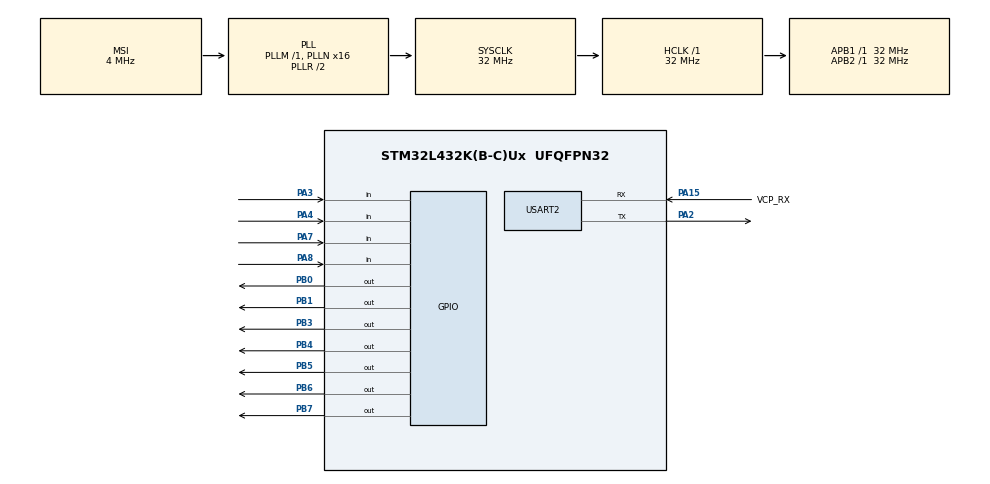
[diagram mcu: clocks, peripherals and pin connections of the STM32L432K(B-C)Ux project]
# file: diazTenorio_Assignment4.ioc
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Mcu.Family=STM32L4
Mcu.Name=STM32L432K(B-C)Ux
Mcu.Package=UFQFPN32
NVIC.PriorityGroup=NVIC_PRIORITYGROUP_4
PA0.GPIO_Label=MCO [High speed clock in]
PA0.Mode=HSE-External-Clock-Source-for-LittleOrca
PA0.Signal=RCC_CK_IN
PA13\ (JTMS-SWDIO).GPIO_Label=SWDIO
PA13\ (JTMS-SWDIO).Mode=Serial_Wire
PA13\ (JTMS-SWDIO).Signal=SYS_JTMS-SWDIO
PA14\ (JTCK-SWCLK).GPIO_Label=SWCLK
PA14\ (JTCK-SWCLK).Mode=Serial_Wire
PA14\ (JTCK-SWCLK).Signal=SYS_JTCK-SWCLK
PA15\ (JTDI).GPIO_Label=VCP_RX
PA15\ (JTDI).Mode=Asynchronous
PA15\ (JTDI).Signal=USART2_RX
PA2.Mode=Asynchronous
PA2.Signal=USART2_TX
PA3.GPIO_PuPd=GPIO_PULLUP
PA3.Signal=GPIO_Input
PA4.GPIO_PuPd=GPIO_PULLUP
PA4.Signal=GPIO_Input
PA7.GPIO_PuPd=GPIO_PULLUP
PA7.Signal=GPIO_Input
PA8.GPIO_PuPd=GPIO_PULLUP
PA8.Signal=GPIO_Input
PB0.Signal=GPIO_Output
PB1.Signal=GPIO_Output
PB3\ (JTDO-TRACESWO).Signal=GPIO_Output
PB4\ (NJTRST).Signal=GPIO_Output
PB5.Signal=GPIO_Output
PB6.Signal=GPIO_Output
PB7.Signal=GPIO_Output
PC14-OSC32_IN\ (PC14).Mode=LSE-External-Oscillator
PC14-OSC32_IN\ (PC14).Signal=RCC_OSC32_IN
PC15-OSC32_OUT\ (PC15).Mode=LSE-External-Oscillator
PC15-OSC32_OUT\ (PC15).Signal=RCC_OSC32_OUT
ProjectManager.HeapSize=0x200
ProjectManager.StackSize=0x400
ProjectManager.TargetToolchain=STM32CubeIDE
RCC.AHBFreq_Value=32000000
RCC.APB1Freq_Value=32000000
RCC.APB1TimFreq_Value=32000000
RCC.APB2Freq_Value=32000000
RCC.APB2TimFreq_Value=32000000
RCC.CortexFreq_Value=32000000
RCC.HCLKFreq_Value=32000000
RCC.HSE_VALUE=8000000
RCC.HSI16_VALUE=16000000
RCC.HSI48_VALUE=48000000
RCC.HSI_VALUE=16000000
RCC.MSI_VALUE=4000000
RCC.PLLMUL=RCC_PLLMUL_4
RCC.PLLN=16
RCC.SYSCLKFreq_VALUE=32000000
RCC.SYSCLKSource=RCC_SYSCLKSOURCE_PLLCLK
RCC.VCOOutputFreq_Value=64000000
USART2.VirtualMode-Asynchronous=VM_ASYNC
board=NUCLEO-L432KC

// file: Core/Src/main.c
/* USER CODE BEGIN Header */
/*******************************************************************************
  * File Name          : main.c
  * Description        : it is a debit card transaction machine.
  * 					 it process a purchase verifying the price to pay
  * 					 type of account, check that the pin is correct and
  * 					 goes back to the initial state.
  *
  * Author:              Daniela Diaz Tenorio
  * Date:                April 13st 2020
  ******************************************************************************
  */
/* USER CODE END Header */

#include "main.h"

/* USER CODE BEGIN Includes */
#include "stdio.h"
#include "string.h"
#include "stdlib.h"
#include "stm32l4xx_hal.h"
#include "debounce.h"
/* USER CODE END Includes */

UART_HandleTypeDef huart2;

void SystemClock_Config(void);
static void MX_GPIO_Init(void);
static void MX_USART2_UART_Init(void);

/* USER CODE BEGIN 0 */
int8_t readPush(int16_t buttonsPin [], int8_t numberOfButtons, char port, int8_t mode);
int8_t waitForPush (int8_t minValue, int8_t maxValue, char port, int8_t mode, int16_t buttonsPin[], int8_t numberOfButtons);
void printLcdVcn(char printBuffer1[], char printBuffer2[]);
int8_t checkPin(char pin[]);
/* USER CODE END 0 */

int main(void)
{

  /* MCU Configuration--------------------------------------------------------*/

  /* Reset of all peripherals, Initializes the Flash interface and the Systick. */
  HAL_Init();

  /* Configure the system clock */
  SystemClock_Config();

  /* Initialize all configured peripherals */
  MX_GPIO_Init();
  MX_USART2_UART_Init();
  /* USER CODE BEGIN 2 */
  HD44780_Init();

  //Initializing push buttons variables
  	char port = 'A';
  	int8_t mode = 0;
  	int16_t buttonsPin[] = {GPIO_PIN_3,GPIO_PIN_4,GPIO_PIN_7,GPIO_PIN_8};// pins for the PB
  	int8_t numberOfButtons = (sizeof(buttonsPin))/(sizeof(buttonsPin[0]));// number of PBs used

  	deBounceInit(buttonsPin[0], port, mode); //push1 PA3
  	deBounceInit(buttonsPin[1], port, mode); //push2 PA4
  	deBounceInit(buttonsPin[2], port, mode); //push3 PA7
	deBounceInit(buttonsPin[3], port, mode); //pushOK PA8

  // initializing variables
	int8_t state = 1; //state machine state
	const int processingTime = 10000; //delay time when is processing
	const int pinSize = 4;//pin length
	char pin[pinSize];
	char printBuffer [16] = { 0 };

	int8_t getButton = 0; //which button is pressed
	float price = 0; // price to pay

  /* USER CODE END 2 */

  /* Infinite loop */
  /* USER CODE BEGIN WHILE */
  while (1)
  {
	  switch(state)
	  {
	  	  case 1: // welcome screen
	  		printLcdVcn("Welcome", " ");
	  		getButton = waitForPush(-1, 3, port, mode,buttonsPin,numberOfButtons); //wait until OK is pressed
	  		state = 2; //next step
		  break;

		  case 2: // enter and accept the price
			printf("enter price: ");
			scanf("%f",&price); // wait until the price is provided through serial port
			sprintf(printBuffer, "$%.2f", price);
			printLcdVcn(printBuffer, "Ok:1 or Canc:2");

			getButton = waitForPush(1, 4, port, mode, buttonsPin,numberOfButtons);//wait until 1 or 2 is pressed

			if(getButton == 0) //pressed OK: PB 1
			{
				state = 3; //next state
			}
			else //pressed cancel: PB 2
			{
				state = 6; // cancel transaction
			}
		  break;

		  case 3: // choose chequing or saving account
		    printLcdVcn("Chequing: 1", "Saving: 2");
		    getButton = waitForPush(1, 4, port, mode, buttonsPin,numberOfButtons); //wait until 1 or 2 is pressed
			state = 4; // next state
		  break;

		  case 4:
			printLcdVcn("Enter PIN", " ");
			memset(printBuffer,' ',16);

			for(int i=0; i<pinSize; i++) //save the pin entered in pin[]
			{
				pin[i] = (readPush(buttonsPin, numberOfButtons, port, mode)+1)+'0'; //convert integer to char
				HD44780_GotoXY(i, 1);
				HD44780_PutChar('*');
			}

			getButton = waitForPush(-1, 3, port, mode, buttonsPin,numberOfButtons); //wait until OK is pressed

			state = 5; //next state
		  break;

		  case 5:

			printLcdVcn("Processing...", " ");
			HAL_Delay(processingTime);

			state = checkPin(pin); //check if the pin is correct
		  break;

		  case 6:

			printLcdVcn("Transaction", "Cancelling");
			HAL_Delay(processingTime);

			state = 1; //go back to welcome screen
		  break;

	  }
    /* USER CODE END WHILE */

  }
}

void SystemClock_Config(void)
{
  RCC_OscInitTypeDef RCC_OscInitStruct = {0};
  RCC_ClkInitTypeDef RCC_ClkInitStruct = {0};
  RCC_PeriphCLKInitTypeDef PeriphClkInit = {0};

  /** Configure LSE Drive Capability
  */
  HAL_PWR_EnableBkUpAccess();
  __HAL_RCC_LSEDRIVE_CONFIG(RCC_LSEDRIVE_LOW);
  /** Initializes the CPU, AHB and APB busses clocks
  */
  RCC_OscInitStruct.OscillatorType = RCC_OSCILLATORTYPE_LSE|RCC_OSCILLATORTYPE_MSI;
  RCC_OscInitStruct.LSEState = RCC_LSE_ON;
  RCC_OscInitStruct.MSIState = RCC_MSI_ON;
  RCC_OscInitStruct.MSICalibrationValue = 0;
  RCC_OscInitStruct.MSIClockRange = RCC_MSIRANGE_6;
  RCC_OscInitStruct.PLL.PLLState = RCC_PLL_ON;
  RCC_OscInitStruct.PLL.PLLSource = RCC_PLLSOURCE_MSI;
  RCC_OscInitStruct.PLL.PLLM = 1;
  RCC_OscInitStruct.PLL.PLLN = 16;
  RCC_OscInitStruct.PLL.PLLP = RCC_PLLP_DIV7;
  RCC_OscInitStruct.PLL.PLLQ = RCC_PLLQ_DIV2;
  RCC_OscInitStruct.PLL.PLLR = RCC_PLLR_DIV2;
  if (HAL_RCC_OscConfig(&RCC_OscInitStruct) != HAL_OK)
  {
    Error_Handler();
  }
  /** Initializes the CPU, AHB and APB busses clocks
  */
  RCC_ClkInitStruct.ClockType = RCC_CLOCKTYPE_HCLK|RCC_CLOCKTYPE_SYSCLK
                              |RCC_CLOCKTYPE_PCLK1|RCC_CLOCKTYPE_PCLK2;
  RCC_ClkInitStruct.SYSCLKSource = RCC_SYSCLKSOURCE_PLLCLK;
  RCC_ClkInitStruct.AHBCLKDivider = RCC_SYSCLK_DIV1;
  RCC_ClkInitStruct.APB1CLKDivider = RCC_HCLK_DIV1;
  RCC_ClkInitStruct.APB2CLKDivider = RCC_HCLK_DIV1;

  if (HAL_RCC_ClockConfig(&RCC_ClkInitStruct, FLASH_LATENCY_1) != HAL_OK)
  {
    Error_Handler();
  }
  PeriphClkInit.PeriphClockSelection = RCC_PERIPHCLK_USART2;
  PeriphClkInit.Usart2ClockSelection = RCC_USART2CLKSOURCE_PCLK1;
  if (HAL_RCCEx_PeriphCLKConfig(&PeriphClkInit) != HAL_OK)
  {
    Error_Handler();
  }
  /** Configure the main internal regulator output voltage
  */
  if (HAL_PWREx_ControlVoltageScaling(PWR_REGULATOR_VOLTAGE_SCALE1) != HAL_OK)
  {
    Error_Handler();
  }
  /** Enable MSI Auto calibration
  */
  HAL_RCCEx_EnableMSIPLLMode();
}

static void MX_USART2_UART_Init(void)
{

  huart2.Instance = USART2;
  huart2.Init.BaudRate = 115200;
  huart2.Init.WordLength = UART_WORDLENGTH_8B;
  huart2.Init.StopBits = UART_STOPBITS_1;
  huart2.Init.Parity = UART_PARITY_NONE;
  huart2.Init.Mode = UART_MODE_TX_RX;
  huart2.Init.HwFlowCtl = UART_HWCONTROL_NONE;
  huart2.Init.OverSampling = UART_OVERSAMPLING_16;
  huart2.Init.OneBitSampling = UART_ONE_BIT_SAMPLE_DISABLE;
  huart2.AdvancedInit.AdvFeatureInit = UART_ADVFEATURE_NO_INIT;
  if (HAL_UART_Init(&huart2) != HAL_OK)
  {
    Error_Handler();
  }

}

static void MX_GPIO_Init(void)
{
  GPIO_InitTypeDef GPIO_InitStruct = {0};

  /* GPIO Ports Clock Enable */
  __HAL_RCC_GPIOC_CLK_ENABLE();
  __HAL_RCC_GPIOA_CLK_ENABLE();
  __HAL_RCC_GPIOB_CLK_ENABLE();

  /*Configure GPIO pin Output Level */
  HAL_GPIO_WritePin(GPIOB, GPIO_PIN_0|GPIO_PIN_1|GPIO_PIN_3|GPIO_PIN_4
                          |GPIO_PIN_5|GPIO_PIN_6|GPIO_PIN_7, GPIO_PIN_RESET);

  /*Configure GPIO pins : PA3 PA4 PA7 PA8 */
  GPIO_InitStruct.Pin = GPIO_PIN_3|GPIO_PIN_4|GPIO_PIN_7|GPIO_PIN_8;
  GPIO_InitStruct.Mode = GPIO_MODE_INPUT;
  GPIO_InitStruct.Pull = GPIO_PULLUP;
  HAL_GPIO_Init(GPIOA, &GPIO_InitStruct);

  /*Configure GPIO pins : PB0 PB1 PB3 PB4
                           PB5 PB6 PB7 */
  GPIO_InitStruct.Pin = GPIO_PIN_0|GPIO_PIN_1|GPIO_PIN_3|GPIO_PIN_4
                          |GPIO_PIN_5|GPIO_PIN_6|GPIO_PIN_7;
  GPIO_InitStruct.Mode = GPIO_MODE_OUTPUT_PP;
  GPIO_InitStruct.Pull = GPIO_NOPULL;
  GPIO_InitStruct.Speed = GPIO_SPEED_FREQ_LOW;
  HAL_GPIO_Init(GPIOB, &GPIO_InitStruct);

}

/* USER CODE BEGIN 4 */

/*
  * FUNCTION           : readPush
  * DESCRIPTION        : read and identify which PB was pressed.
  *
  * PARAMETERS		   : int16_t buttonsPin[]: pin number initialized for the input.
  * 					 int8_t numberOfButtons : amount of buttons to consider.
  * 					 char port: port of the pin input.
  * 				     int8_t mode: mode of the pin input. 0 for Pullup and 1 Pulldown
  *
  * RETURN			   : int8_t button: the number of the PB pressed.
  */
int8_t readPush(int16_t buttonsPin [], int8_t numberOfButtons, char port, int8_t mode) {

int8_t button = 0;
int8_t pushContains [numberOfButtons];

for(int i = 0; i < numberOfButtons; i++)
{
	pushContains[i] = deBounceReadPin(buttonsPin[i], port, mode); // read PB 1
}

// check if a PB hasn't been pressed and is lower than the number of buttons
while(pushContains[button] && button < numberOfButtons)
		{
			pushContains[button] = deBounceReadPin(buttonsPin[button], port, mode);
			button ++;

			if(button == numberOfButtons) // restart the variable button
			{
			button = 0;
			}
		}

return button;
}

/*
  * FUNCTION           : waitForPush
  * DESCRIPTION        : waits for an specific PB to be pressed depending on the
  * 					 minValue and the maxValue parameters.
  *
  * 					 if PB 1 or 2 are pressed minValue = 1 and maxValue = 4
  * 					 if PB 1,2 or 3 are pressed minValue = -1 and maxValue = 3
  *
  *
  * PARAMETERS		   : int8_t minValue: minimum value to limit the buttons to read.
  * 				     int8_t maxValue: maximum value to limit the buttons to read.
  * 				     char port: port of the pin input.
  * 				     int8_t mode: mode of the pin input. 0 for Pullup and 1 Pulldown
  * 				     int16_t buttonsPin[]: pin number initialized for the input.
  * 				     int8_t numberOfButtons : amount of buttons to consider.
  *
  * RETURN			   : int8_t getButton: the number of the PB pressed.
  */
int8_t waitForPush (int8_t minValue, int8_t maxValue, char port, int8_t mode, int16_t buttonsPin[], int8_t numberOfButtons)
{
	int8_t getButton = 0;
	getButton = readPush(buttonsPin, numberOfButtons, port, mode); // waiting for pushing a button
	while(getButton > minValue && getButton < maxValue) // check if OK was pressed
	{
		getButton = readPush(buttonsPin, numberOfButtons, port, mode); // waiting for pushing a button
	}

	return getButton;
}

/*
  * FUNCTION           : printLcdVcn
  * DESCRIPTION        : Print values from 2 char arrays in the LCD and
  * 					 trough the serial port.
  *
  * PARAMETERS		   : char printBuffer1[]: the first line string to be printed.
  * 					 char printBuffer2[]: the second line string to be printed.
  *
  * RETURN			   : no return.
  */
void printLcdVcn(char printBuffer1[], char printBuffer2[])
{

//printing in the LCD
	HD44780_ClrScr();
	HD44780_GotoXY(0, 0);
	HD44780_PutStr(printBuffer1); //print LCD
	HD44780_GotoXY(0, 1);
	HD44780_PutStr(printBuffer2);

 //printing the same values throuhg the serial port
	printf(printBuffer1);
	printf(" ");
	printf(printBuffer2);
	printf(" \r \n");

}

/*
  * FUNCTION           : checkPin
  * DESCRIPTION        : check if the pin is correct
  *
  * PARAMETERS		   : char pin[]: is the pin entered by the user.
  *
  * RETURN			   : int8_t state: the next state for the state machine
  */
int8_t checkPin(char pin[]) // check if the pin is correct
{
	int8_t state;
	int8_t p = 0;
	int pinInt = atoi(pin);
	int rightPins[] = {1111, 1121, 1133, 1213, 2111, 2331, 3111, 3211, 3333};
	int rightPinsLength = (sizeof(rightPins)/(sizeof(rightPins[0])));

	while(pinInt != rightPins[p])
	{
		p++;

		if(p >= rightPinsLength )
		{
			printf("pin is NOT correct ...\r \n");
			state = 6;
			break;
		}
	}
	if (p == 8)
	{
		printf("pin is correct ...\r \n");
		printf("no funds ...\r \n");
		state = 6;
	}
	else if (p < 8)
	{
		printf("pin is correct ...\r \n");
		printf("printing receipt ...\r \n");
		state = 1;
	}

	return state;
}

/* USER CODE END 4 */

void Error_Handler(void)
{
}

/************************ (C) COPYRIGHT STMicroelectronics *****END OF FILE****/
